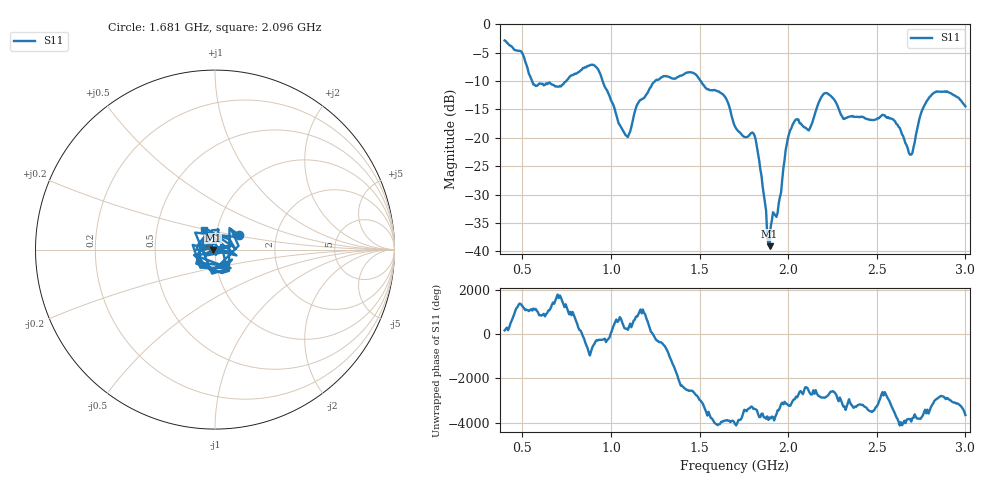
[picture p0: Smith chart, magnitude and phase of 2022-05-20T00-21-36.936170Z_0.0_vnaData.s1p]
!Created with skrf (http://scikit-rf.org).
# Hz S RI R 50.0
!freq ReS11 ImS11
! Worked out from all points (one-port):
!   401 points, 400 MHz to 3 GHz, reference 50 ohm
!   lowest |S11| = -39.1 dB at 1.895 GHz (marker M1), VSWR 1.02, Z = 48.9 - j0.255 ohm
!   |S11| at or under -10 dB: 555.3 MHz to 747.6 MHz (192.3 MHz wide, 29.5 % of centre); 953 MHz to 1.249 GHz (295.9 MHz wide, 26.9 % of centre); 1.507 GHz to end of sweep
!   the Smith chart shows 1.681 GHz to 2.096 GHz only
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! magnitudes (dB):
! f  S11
! 400 MHz  -2.8
! 497.5 MHz  -4.9
! 569 MHz  -10.6
! 725 MHz  -10.6
! 907 MHz  -7.3
! 1.05 GHz  -17.8
! 1.095 GHz  -19.9
! 1.154 GHz  -13.8
! 1.245 GHz  -10.1
! 1.375 GHz  -9.3
! 1.46 GHz  -8.5
! 1.629 GHz  -12.3
! 1.7 GHz  -18.0
! 1.81 GHz  -19.6
! 1.882 GHz  -37.3
! 1.895 GHz  -39.1
! 1.947 GHz  -31.5
! 1.992 GHz  -21.1
! 2.025 GHz  -17.7
! 2.116 GHz  -18.7
! 2.213 GHz  -12.1
! 2.35 GHz  -16.2
! 2.591 GHz  -16.7
! 2.675 GHz  -21.9
! 2.701 GHz  -22.7
! 2.753 GHz  -15.4
! 2.825 GHz  -12.0
! 3 GHz  -14.4
